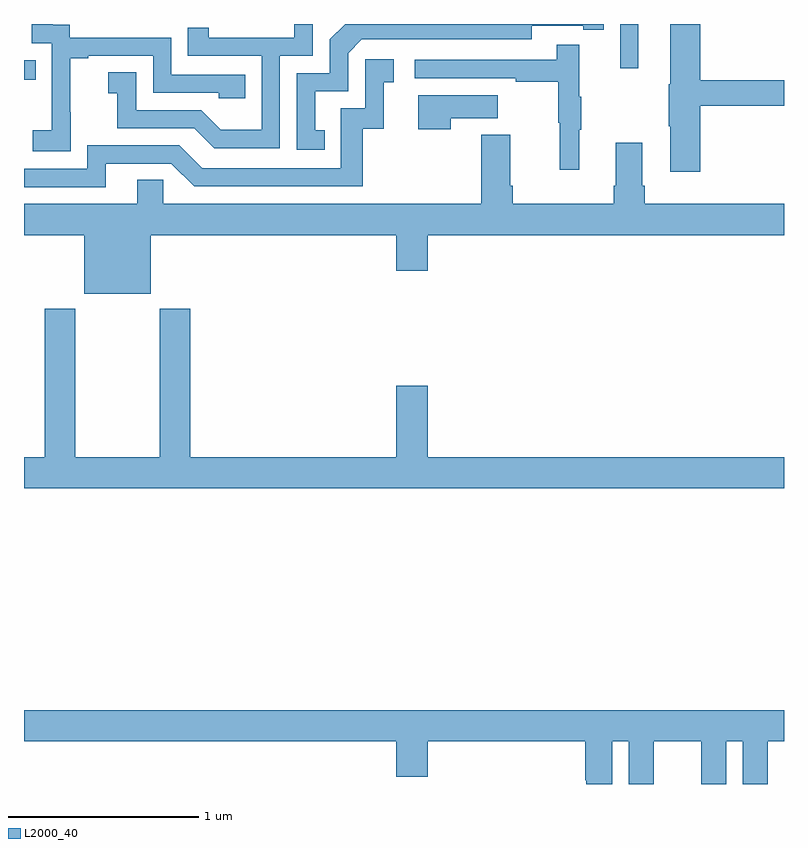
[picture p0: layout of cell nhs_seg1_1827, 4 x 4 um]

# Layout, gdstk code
import gdstk
lib = gdstk.Library(unit=1e-6, precision=1e-09)
def R(c, l, rs):  # rectangles x0, y0, x1, y1
    for r in rs: c.add(gdstk.rectangle(r[:2], r[2:], *l))
def P(c, l, *ps):  # polygons
    for p in ps: c.add(gdstk.Polygon(p, *l))
L2000_40 = (2000, 40)

nhs_seg1_1827 = lib.new_cell('nhs_seg1_1827')
R(nhs_seg1_1827, L2000_40, [(211,529.906,211.061,530.007), (214.137,529.965,214.234,530.199)])
P(nhs_seg1_1827, L2000_40, [(212.346,530.031),(212.52,530.031),(212.52,530.199),(212.423,530.199),(212.423,530.127),(211.972,530.127),(211.972,530.179),(211.861,530.179),(211.861,530.031),(212.25,530.031),(212.25,529.642),(212.036,529.642),(211.932,529.746),(211.59,529.746),(211.59,529.945),(211.443,529.945),(211.443,529.835),(211.492,529.835),(211.492,529.65),(211.895,529.65),(212,529.545),(212.346,529.545)],
  [(211.245,529.735),(211.244,529.735),(211.244,530.019),(211.339,530.019),(211.339,530.031),(211.68,530.031),(211.68,529.836),(212.025,529.836),(212.025,529.809),(212.165,529.809),(212.165,529.932),(211.776,529.932),(211.776,530.127),(211.242,530.127),(211.242,530.196),(211.15,530.196),(211.15,530.199),(211.041,530.199),(211.041,530.097),(211.146,530.097),(211.146,529.868),(211.145,529.868),(211.145,529.639),(211.047,529.639),(211.047,529.529),(211.245,529.529)],
  [(212.582,529.641),(212.533,529.641),(212.533,529.845),(212.706,529.845),(212.706,530.046),(212.778,530.118),(213.672,530.118),(213.672,530.19),(213.944,530.19),(213.944,530.17),(214.052,530.17),(214.052,530.199),(212.691,530.199),(212.61,530.118),(212.61,529.941),(212.436,529.941),(212.436,529.536),(212.582,529.536)],
  [(214.559,529.768),(215,529.768),(215,529.904),(214.559,529.904),(214.559,530.199),(214.4,530.199),(214.4,529.881),(214.393,529.881),(214.393,529.66),(214.4,529.66),(214.4,529.422),(214.559,529.422)],
  [(213.923,529.643),(213.934,529.643),(213.934,529.817),(213.923,529.817),(213.923,530.089),(213.805,530.089),(213.805,530.01),(213.057,530.01),(213.057,529.914),(213.589,529.914),(213.589,529.894),(213.813,529.894),(213.813,529.68),(213.82,529.68),(213.82,529.431),(213.923,529.431)],
  [(211.429,529.464),(211.776,529.464),(211.896,529.344),(212.783,529.344),(212.783,529.647),(212.894,529.647),(212.894,529.893),(212.947,529.893),(212.947,530.014),(212.796,530.014),(212.796,529.755),(212.667,529.755),(212.667,529.44),(211.938,529.44),(211.818,529.56),(211.332,529.56),(211.332,529.437),(211,529.437),(211,529.341),(211.429,529.341)],
  [(213.245,529.703),(213.493,529.703),(213.493,529.825),(213.074,529.825),(213.074,529.644),(213.245,529.644)],
  [(211.666,529.088),(212.96,529.088),(212.96,528.9),(213.124,528.9),(213.124,529.088),(215,529.088),(215,529.252),(214.268,529.252),(214.268,529.348),(214.255,529.348),(214.255,529.573),(214.115,529.573),(214.115,529.348),(214.103,529.348),(214.103,529.252),(213.572,529.252),(213.572,529.348),(213.559,529.348),(213.559,529.615),(213.407,529.615),(213.407,529.252),(211.734,529.252),(211.734,529.379),(211.595,529.379),(211.595,529.252),(211,529.252),(211,529.088),(211.316,529.088),(211.316,528.779),(211.666,528.779)],
  [(215,527.92),(213.124,527.92),(213.124,528.295),(212.96,528.295),(212.96,527.92),(211.874,527.92),(211.874,528.7),(211.714,528.7),(211.714,527.92),(211.269,527.92),(211.269,528.7),(211.109,528.7),(211.109,527.92),(211,527.92),(211,527.756),(215,527.756)],
  [(214.096,526.424),(214.184,526.424),(214.184,526.199),(214.315,526.199),(214.315,526.424),(214.565,526.424),(214.565,526.199),(214.696,526.199),(214.696,526.424),(214.784,526.424),(214.784,526.199),(214.915,526.199),(214.915,526.424),(215,526.424),(215,526.588),(211,526.588),(211,526.424),(212.96,526.424),(212.96,526.236),(213.124,526.236),(213.124,526.424),(213.953,526.424),(213.953,526.219),(213.959,526.219),(213.959,526.199),(214.096,526.199)])

lib.write_gds('nhs_seg1_1827.gds')
